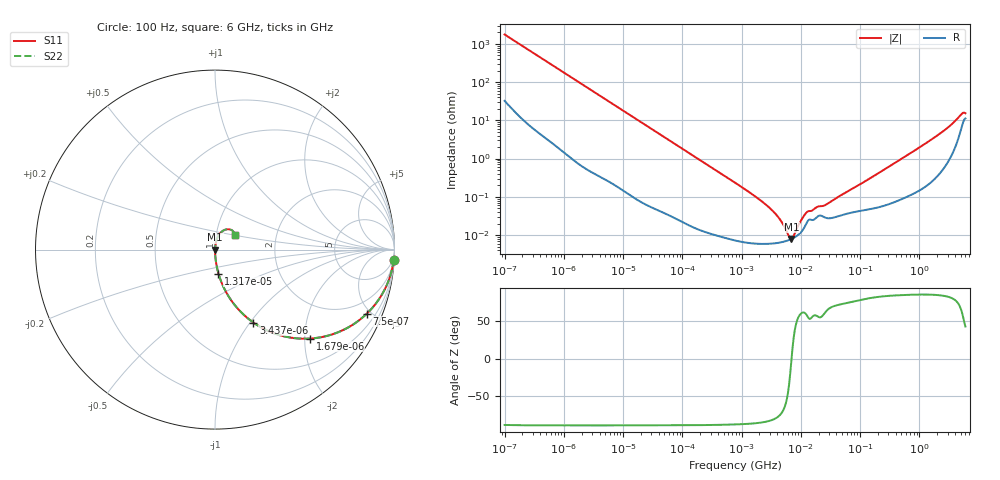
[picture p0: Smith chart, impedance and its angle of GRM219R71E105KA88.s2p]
!Murata Part Number: GRM219R71E105KA88
!These Parameters are Measured in Series Mode Connection
!Data Generated on Mar 30, 2021
!  o--ll--o
!Port1  Port2
!  o------o
!Operation Temp=25[degC], DC Bias Voltage=0[V]
!Freq. Start=100[Hz] Stop=6[GHz] 401[Steps]
# Hz S RI R 50
!Freq.(Hz) S11(Real) S11(Imag) S21(Real) S21(Imag) S12(Real) S12(Imag) S22(Real) S22(Imag)
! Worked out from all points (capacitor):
!   401 points, 100 Hz to 6 GHz, reference 50 ohm
!   read as one part in series: C = 904 nF near 109 Hz
!   lowest |Z| = 7.88 mohm at 6.949 MHz (marker M1)
!   series resonance near 6.978 MHz, so ESL is about 580 pH
!   S11 on the Smith chart (normalised r, x): 100 Hz: 2, -35; 750 Hz: 1.04, -4.73; 1.679 kHz: 1.02, -2.12; 3.437 kHz: 1.01, -1.04; 13.17 kHz: 1.00, -0.27; 6 GHz: 1.22, +0.21
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100  0.9957 -0.0566  0.00427 0.0566  0.00427 0.0566  0.9957 -0.0566
350  0.9604 -0.1901  0.0396 0.1901  0.0396 0.1901  0.9604 -0.1901
750  0.8462 -0.3564  0.1538 0.3564  0.1538 0.3564  0.8462 -0.3564
1679  0.5289 -0.4956  0.4711 0.4956  0.4711 0.4956  0.5289 -0.4956
2008  0.4406 -0.4929  0.5594 0.4929  0.5594 0.4929  0.4406 -0.4929
3437  0.214 -0.4064  0.786 0.4064  0.786 0.4064  0.214 -0.4064
6151  0.0798 -0.267  0.9202 0.267  0.9202 0.267  0.0798 -0.267
13169  0.0193 -0.1337  0.9807 0.1337  0.9807 0.1337  0.0193 -0.1337
40335  0.00243 -0.0446  0.9976 0.0446  0.9976 0.0446  0.00243 -0.0446
774597  7.77e-05 -0.00235  0.9999 0.00235  0.9999 0.00235  7.77e-05 -0.00235
2967816  5.95e-05 -0.000511  0.9999 0.000511  0.9999 0.000511  5.95e-05 -0.000511
4246196  6.3e-05 -0.000276  0.9999 0.000276  0.9999 0.000276  6.3e-05 -0.000276
6075234  7.25e-05 -7.45e-05  0.9999 7.45e-05  0.9999 7.45e-05  7.25e-05 -7.45e-05
6948629  7.88e-05 -2.2e-06  0.9999 2.2e-06  0.9999 2.2e-06  7.88e-05 -2.2e-06
7947587  8.8e-05 7.1e-05  0.9999 -7.1e-05  0.9999 -7.1e-05  8.8e-05 7.1e-05
1.189169e7  0.000175 0.000311  0.9998 -0.000311  0.9998 -0.000311  0.000175 0.000311
1.555665e7  0.000247 0.000363  0.9998 -0.000363  0.9998 -0.000363  0.000247 0.000363
2.662322e7  0.000282 0.000556  0.9997 -0.000556  0.9997 -0.000556  0.000282 0.000556
3.124326e8  0.000686 0.00621  0.9993 -0.00621  0.9993 -0.00621  0.000686 0.00621
3.205649e9  0.0138 0.0672  0.9862 -0.0672  0.9862 -0.0672  0.0138 0.0672
5.016141e9  0.0658 0.1133  0.9342 -0.1133  0.9342 -0.1133  0.0658 0.1133
6e9  0.1087 0.0837  0.8913 -0.0837  0.8913 -0.0837  0.1087 0.0837
